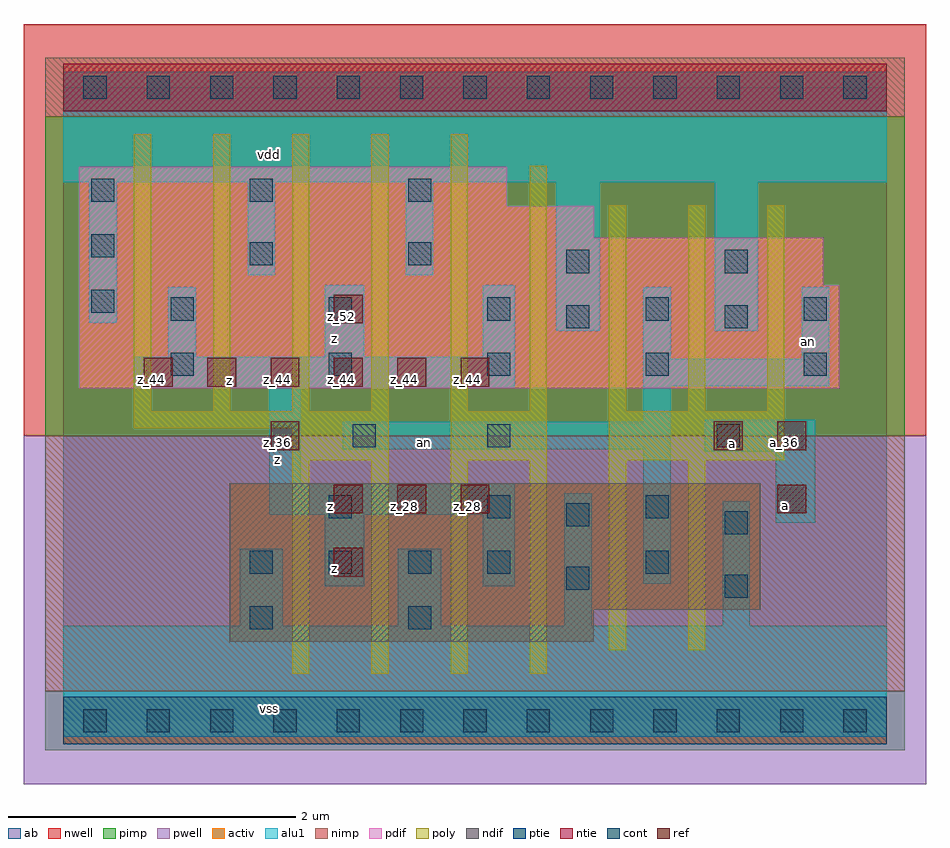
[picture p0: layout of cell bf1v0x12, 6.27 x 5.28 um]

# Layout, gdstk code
import gdstk
lib = gdstk.Library(unit=1e-6, precision=2.5e-09)
def R(c, l, rs):  # rectangles x0, y0, x1, y1
    for r in rs: c.add(gdstk.rectangle(r[:2], r[2:], *l))
def A(c, l, x, y, w, h, nx, ny, dx, dy):  # array of equal rectangles
    R(c, l, [(x+i*dx, y+j*dy, x+i*dx+w, y+j*dy+h) for i in range(nx) for j in range(ny)])
ndif = (3, 0)
pdif = (4, 0)
ntie = (5, 0)
ptie = (6, 0)
ref = (24, 0)
cont = (25, 0)
pwell = (41, 0)
nwell = (42, 0)
activ = (43, 0)
pimp = (44, 0)
nimp = (45, 0)
poly = (46, 0)
alu1 = (49, 0)
ab = (63, 0)

bf1v0x12 = lib.new_cell('bf1v0x12')
R(bf1v0x12, ndif, [(1.155,0.55,3.685,0.77), (1.155,0.77,4.84,1.65)])
R(bf1v0x12, pdif, [(0.11,2.31,5.39,3.025), (0.11,3.025,5.28,3.355), (0.11,3.355,3.685,3.575), (0.11,3.575,3.08,3.85)])
R(bf1v0x12, ntie, [(0,4.235,5.72,4.565)])
R(bf1v0x12, ptie, [(0,-0.165,5.72,0.165)])
A(bf1v0x12, ref, 1.88, 1.44, 0.2, 0.2, 3, 1, 0.44, 0)
A(bf1v0x12, ref, 0.56, 2.32, 0.2, 0.2, 6, 1, 0.44, 0)
R(bf1v0x12, ref, [(1.88,1,2.08,1.2), (4.96,1.44,5.16,1.64), (1.44,1.88,1.64,2.08), (4.52,1.88,4.72,2.08), (4.96,1.88,5.16,2.08), (1.88,2.76,2.08,2.96)])
A(bf1v0x12, cont, 0.14, -0.08, 0.16, 0.16, 13, 2, 0.44, 4.4)
A(bf1v0x12, cont, 1.295, 1.02, 0.16, 0.16, 4, 1, 0.55, 0)
A(bf1v0x12, cont, 1.845, 1.405, 0.16, 0.16, 3, 1, 1.1, 0)
A(bf1v0x12, cont, 0.745, 2.395, 0.16, 0.16, 5, 2, 1.1, 0.385)
A(bf1v0x12, cont, 0.195, 3.605, 0.16, 0.16, 3, 1, 1.1, 0)
R(bf1v0x12, cont, [(1.295,0.635,1.455,0.795), (2.395,0.635,2.555,0.795), (4.595,0.855,4.755,1.015), (3.495,0.91,3.655,1.07), (4.045,1.02,4.205,1.18), (4.595,1.295,4.755,1.455), (3.495,1.35,3.655,1.51), (2.01,1.9,2.17,2.06), (2.945,1.9,3.105,2.06), (4.54,1.9,4.7,2.06), (3.495,2.725,3.655,2.885), (4.595,2.725,4.755,2.885), (0.195,2.835,0.355,2.995), (3.495,3.11,3.655,3.27), (4.595,3.11,4.755,3.27), (1.295,3.165,1.455,3.325), (2.395,3.165,2.555,3.325), (0.195,3.22,0.355,3.38)])
R(bf1v0x12, pwell, [(-0.275,-0.44,5.995,1.98)])
R(bf1v0x12, nwell, [(-0.275,1.98,5.995,4.84)])
R(bf1v0x12, activ, [(0,-0.165,5.72,0.165), (1.155,0.55,3.685,0.77), (1.155,0.77,4.84,1.65), (0.11,2.31,5.39,3.025), (0.11,3.025,5.28,3.355), (0.11,3.355,3.685,3.575), (0.11,3.575,3.08,3.85), (0,4.235,5.72,4.565)])
R(bf1v0x12, pimp, [(-0.125,-0.205,5.845,0.205), (-0.125,1.98,5.845,4.195)])
R(bf1v0x12, nimp, [(-0.125,0.205,5.845,1.98), (-0.125,4.195,5.845,4.605)])
A(bf1v0x12, poly, 1.59, 0.325, 0.12, 1.485, 4, 1, 0.55, 0)
A(bf1v0x12, poly, 0.49, 2.15, 0.12, 1.925, 5, 1, 0.55, 0)
A(bf1v0x12, poly, 3.79, 2.15, 0.12, 1.43, 3, 1, 0.55, 0)
R(bf1v0x12, poly, [(3.79,0.49,3.91,1.81), (4.34,0.49,4.46,1.81), (1.59,1.81,2.26,2.03), (2.69,1.81,3.36,2.15), (3.79,1.81,5.01,2.15), (0.49,2.03,2.26,2.15), (3.24,2.15,3.36,3.855)])
R(bf1v0x12, alu1, [(0,-0.11,5.72,0.66), (1.225,0.66,1.525,1.195), (2.325,0.66,2.625,1.195), (3.48,0.66,3.67,1.58), (4.58,0.66,4.77,1.525), (1.815,0.935,2.09,1.43), (2.915,0.935,3.135,1.43), (4.03,0.95,4.22,1.885), (4.95,1.375,5.225,1.87), (1.43,1.43,3.135,1.65), (1.43,1.65,1.65,2.31), (4.455,1.87,5.225,2.09), (1.94,1.885,4.22,2.075), (4.03,2.075,4.22,2.325), (0.495,2.31,3.135,2.53), (4.03,2.325,5.32,2.515), (4.03,2.515,4.22,3.01), (5.13,2.515,5.32,3.01), (0.73,2.53,0.92,3.01), (1.815,2.53,2.09,3.025), (2.915,2.53,3.135,3.025), (3.425,2.71,3.725,3.74), (4.525,2.71,4.825,3.74), (0.18,2.765,0.37,3.74), (1.28,3.095,1.47,3.74), (2.38,3.095,2.57,3.74), (0,3.74,5.72,4.51)])
R(bf1v0x12, ab, [(0,0,5.72,4.4)])
bf1v0x12.add(gdstk.Label('vss', (1.43,0.0825), layer=49, texttype=0))
bf1v0x12.add(gdstk.Label('a', (5.0175,1.4975), layer=49, texttype=0))
bf1v0x12.add(gdstk.Label('a', (4.6475,1.925), layer=49, texttype=0))
bf1v0x12.add(gdstk.Label('z', (1.8825,1.0575), layer=49, texttype=0))
bf1v0x12.add(gdstk.Label('z', (1.855,1.485), layer=49, texttype=0))
bf1v0x12.add(gdstk.Label('an', (2.51,1.9325), layer=49, texttype=0))
bf1v0x12.add(gdstk.Label('z', (1.485,1.815), layer=49, texttype=0))
bf1v0x12.add(gdstk.Label('an', (5.1775,2.6375), layer=49, texttype=0))
bf1v0x12.add(gdstk.Label('z', (1.155,2.365), layer=49, texttype=0))
bf1v0x12.add(gdstk.Label('z', (1.8825,2.6525), layer=49, texttype=0))
bf1v0x12.add(gdstk.Label('vdd', (1.43,3.9325), layer=49, texttype=0))
bf1v0x12.add(gdstk.Label('a_36', (5.01,1.93), layer=24, texttype=0))
bf1v0x12.add(gdstk.Label('a_28', (5.01,1.49), layer=24, texttype=0))
bf1v0x12.add(gdstk.Label('a_36', (4.57,1.93), layer=24, texttype=0))
bf1v0x12.add(gdstk.Label('z_44', (2.81,2.37), layer=24, texttype=0))
bf1v0x12.add(gdstk.Label('z_28', (2.81,1.49), layer=24, texttype=0))
bf1v0x12.add(gdstk.Label('z_44', (2.37,2.37), layer=24, texttype=0))
bf1v0x12.add(gdstk.Label('z_28', (2.37,1.49), layer=24, texttype=0))
bf1v0x12.add(gdstk.Label('z_52', (1.93,2.81), layer=24, texttype=0))
bf1v0x12.add(gdstk.Label('z_44', (1.93,2.37), layer=24, texttype=0))
bf1v0x12.add(gdstk.Label('z_28', (1.93,1.49), layer=24, texttype=0))
bf1v0x12.add(gdstk.Label('z_20', (1.93,1.05), layer=24, texttype=0))
bf1v0x12.add(gdstk.Label('z_44', (1.49,2.37), layer=24, texttype=0))
bf1v0x12.add(gdstk.Label('z_36', (1.49,1.93), layer=24, texttype=0))
bf1v0x12.add(gdstk.Label('z_44', (1.05,2.37), layer=24, texttype=0))
bf1v0x12.add(gdstk.Label('z_44', (0.61,2.37), layer=24, texttype=0))

lib.write_gds('bf1v0x12.gds')
